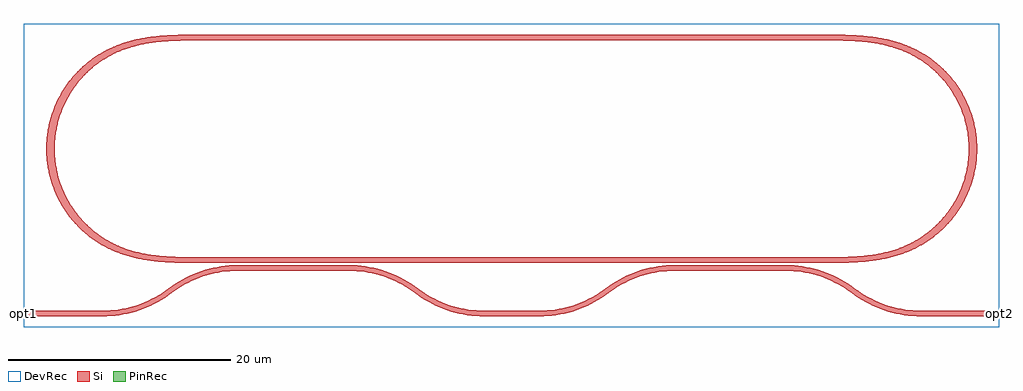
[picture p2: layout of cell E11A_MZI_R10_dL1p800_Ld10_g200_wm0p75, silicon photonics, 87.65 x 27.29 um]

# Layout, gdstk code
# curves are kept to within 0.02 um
import gdstk
lib = gdstk.Library(unit=1e-6, precision=1e-09)
def R(c, l, rs):  # rectangles x0, y0, x1, y1
    for r in rs: c.add(gdstk.rectangle(r[:2], r[2:], *l))
def P(c, l, *ps):  # polygons
    for p in ps: c.add(gdstk.Polygon(p, *l))
Si = (1, 0)
PinRec = (1, 10)
DevRec = (68, 0)

c__e11aring_r10p000_lc53p2 = lib.new_cell('_E11Aring_R10p000_Lc53p237_w0p500_wm0p750_tp30')
R(c__e11aring_r10p000_lc53p2, Si, [(-26.618,-10.25,26.618,-9.75), (-26.618,9.75,26.618,10.25)])
P(c__e11aring_r10p000_lc53p2, Si, [(-27.779,-10.25),(-30.764,-10.193),(-31.921,-10.105),(-32.908,-9.976),(-33.884,-9.783),(-34.684,-9.565),(-35.466,-9.289),(-36.224,-8.954),(-37.087,-8.475),(-37.757,-8.02),(-38.509,-7.404),(-39.197,-6.719),(-39.816,-5.969),(-40.274,-5.301),(-40.676,-4.598),(-41.081,-3.715),(-41.398,-2.797),(-41.625,-1.852),(-41.759,-0.89),(-41.798,0.081),(-41.743,1.051),(-41.56,2.17),(-41.302,3.107),(-40.955,4.014),(-40.522,4.884),(-40.005,5.707),(-39.412,6.476),(-38.746,7.184),(-38.014,7.823),(-37.224,8.388),(-36.372,8.88),(-35.466,9.29),(-34.366,9.659),(-33.398,9.888),(-32.086,10.088),(-30.764,10.193),(-29.272,10.24),(-26.618,10.25),(-26.618,9.75),(-29.137,9.741),(-30.867,9.678),(-32.433,9.515),(-33.668,9.271),(-34.424,9.054),(-35.017,8.841),(-35.595,8.591),(-36.155,8.304),(-36.688,7.986),(-37.196,7.636),(-38.138,6.84),(-38.569,6.398),(-39.065,5.807),(-39.511,5.179),(-39.831,4.651),(-40.116,4.103),(-40.421,3.395),(-40.667,2.664),(-40.821,2.066),(-40.958,1.308),(-41.023,0.694),(-41.048,0.077),(-41.023,-0.694),(-40.958,-1.307),(-40.821,-2.066),(-40.667,-2.664),(-40.421,-3.395),(-40.048,-4.242),(-39.676,-4.917),(-39.25,-5.56),(-38.672,-6.283),(-38.026,-6.946),(-37.441,-7.448),(-36.688,-7.986),(-36.017,-8.379),(-35.163,-8.781),(-34.274,-9.101),(-33.207,-9.376),(-32.277,-9.537),(-31.181,-9.655),(-30.081,-9.717),(-26.618,-9.75),(-26.618,-10.25)],
  [(26.618,-10.25),(26.618,-9.75),(29.294,-9.738),(30.867,-9.678),(32.277,-9.537),(33.515,-9.307),(34.573,-9.003),(35.452,-8.656),(36.292,-8.226),(37.071,-7.726),(37.912,-7.05),(38.672,-6.283),(39.339,-5.434),(39.676,-4.917),(39.978,-4.379),(40.421,-3.395),(40.749,-2.366),(40.978,-1.154),(41.048,-0.077),(40.995,1.001),(40.821,2.066),(40.475,3.25),(40.048,4.242),(39.511,5.179),(38.773,6.167),(38.026,6.946),(37.561,7.352),(37.071,7.726),(36.292,8.227),(35.452,8.657),(34.573,9.004),(33.515,9.308),(32.121,9.559),(30.867,9.678),(29.137,9.741),(26.618,9.75),(26.618,10.25),(30.433,10.209),(31.756,10.122),(32.58,10.026),(33.722,9.82),(34.684,9.565),(35.466,9.29),(36.372,8.88),(37.224,8.388),(38.014,7.823),(38.746,7.184),(39.412,6.476),(40.005,5.707),(40.522,4.884),(40.955,4.014),(41.352,2.952),(41.594,2.011),(41.743,1.051),(41.798,0.081),(41.759,-0.89),(41.625,-1.852),(41.398,-2.797),(41.081,-3.715),(40.676,-4.598),(40.274,-5.301),(39.718,-6.098),(39.197,-6.719),(38.509,-7.404),(37.757,-8.02),(37.087,-8.475),(36.224,-8.954),(35.466,-9.289),(34.684,-9.565),(33.884,-9.783),(32.908,-9.976),(31.921,-10.105),(29.935,-10.226)])

e11a_mzi_r10_dl1p800_ld1 = lib.new_cell('E11A_MZI_R10_dL1p800_Ld10_g200_wm0p75')
R(e11a_mzi_r10_dl1p800_ld1, Si, [(-1,-0.25,0,0.25), (0,-0.25,6.1,0.25), (40.337,-0.25,45.337,0.25), (79.573,-0.25,85.635,0.25), (85.635,-0.25,86.635,0.25), (18.218,3.839,28.218,4.339), (57.455,3.839,67.455,4.339)])
P(e11a_mzi_r10_dl1p800_ld1, Si, [(73.362,1.846),(72.488,2.44),(71.871,2.782),(71.232,3.078),(70.572,3.328),(69.897,3.529),(68.86,3.738),(68.159,3.814),(67.455,3.839),(67.455,4.339),(68.565,4.279),(69.661,4.099),(70.732,3.801),(71.425,3.539),(72.425,3.054),(73.06,2.671),(73.665,2.244)],
  [(45.337,-0.25),(45.337,0.25),(46.041,0.275),(47.09,0.409),(47.778,0.561),(48.454,0.762),(49.113,1.011),(50.064,1.473),(50.668,1.837),(51.244,2.244),(51.547,1.846),(50.942,1.418),(49.98,0.862),(49.307,0.55),(48.614,0.288),(47.904,0.077),(47.18,-0.083),(46.446,-0.19)],
  [(34.126,1.846),(33.251,2.44),(32.635,2.782),(31.995,3.078),(31.336,3.328),(30.66,3.529),(29.624,3.738),(28.923,3.814),(28.218,3.839),(28.218,4.339),(29.328,4.279),(30.425,4.099),(31.496,3.801),(32.189,3.539),(33.189,3.054),(33.823,2.671),(34.429,2.244)],
  [(79.573,-0.25),(78.463,-0.19),(77.73,-0.083),(77.006,0.077),(76.296,0.288),(75.602,0.55),(74.93,0.862),(73.968,1.418),(73.362,1.846),(73.665,2.244),(74.241,1.837),(74.845,1.473),(75.796,1.011),(76.456,0.762),(77.131,0.561),(77.82,0.409),(78.868,0.275),(79.573,0.25)],
  [(12.311,1.846),(12.008,2.244),(12.613,2.671),(13.248,3.054),(14.248,3.539),(14.941,3.801),(16.012,4.099),(17.108,4.279),(18.218,4.339),(18.218,3.839),(17.514,3.814),(16.813,3.738),(15.776,3.529),(15.101,3.328),(14.441,3.078),(13.802,2.782),(13.185,2.44)],
  [(51.547,1.846),(51.244,2.244),(51.85,2.671),(52.484,3.054),(53.484,3.539),(54.177,3.801),(55.248,4.099),(56.345,4.279),(57.455,4.339),(57.455,3.839),(56.75,3.814),(56.049,3.738),(55.013,3.529),(54.337,3.328),(53.678,3.078),(53.038,2.782),(52.422,2.44)],
  [(40.337,-0.25),(39.227,-0.19),(38.493,-0.083),(37.77,0.077),(37.059,0.288),(36.366,0.55),(35.693,0.862),(34.731,1.418),(34.126,1.846),(34.429,2.244),(35.005,1.837),(35.609,1.473),(36.56,1.011),(37.219,0.762),(37.895,0.561),(38.583,0.409),(39.632,0.275),(40.337,0.25)],
  [(6.1,-0.25),(6.1,0.25),(6.805,0.275),(7.853,0.409),(8.542,0.561),(9.217,0.762),(9.877,1.011),(10.828,1.473),(11.432,1.837),(12.008,2.244),(12.311,1.846),(11.705,1.418),(10.743,0.862),(10.071,0.55),(9.377,0.288),(8.667,0.077),(7.943,-0.083),(7.21,-0.19)])
R(e11a_mzi_r10_dl1p800_ld1, DevRec, [(-1,-1.25,86.635,26.039)])
e11a_mzi_r10_dl1p800_ld1.add(gdstk.FlexPath([(86.625,0),(86.645,0)], 0.5, ends="flush", simple_path=True, layer=1, datatype=10))  # PinRec
e11a_mzi_r10_dl1p800_ld1.add(gdstk.FlexPath([(-0.99,0),(-1.01,0)], 0.5, ends="flush", simple_path=True, layer=1, datatype=10))  # PinRec
e11a_mzi_r10_dl1p800_ld1.add(gdstk.Reference(c__e11aring_r10p000_lc53p2, (42.837,14.789)))
e11a_mzi_r10_dl1p800_ld1.add(gdstk.Label('opt2', (86.635,0), layer=1, texttype=10))
e11a_mzi_r10_dl1p800_ld1.add(gdstk.Label('opt1', (-1,0), layer=1, texttype=10))

lib.write_gds('E11A_MZI_R10_dL1p800_Ld10_g200_wm0p75.gds')
